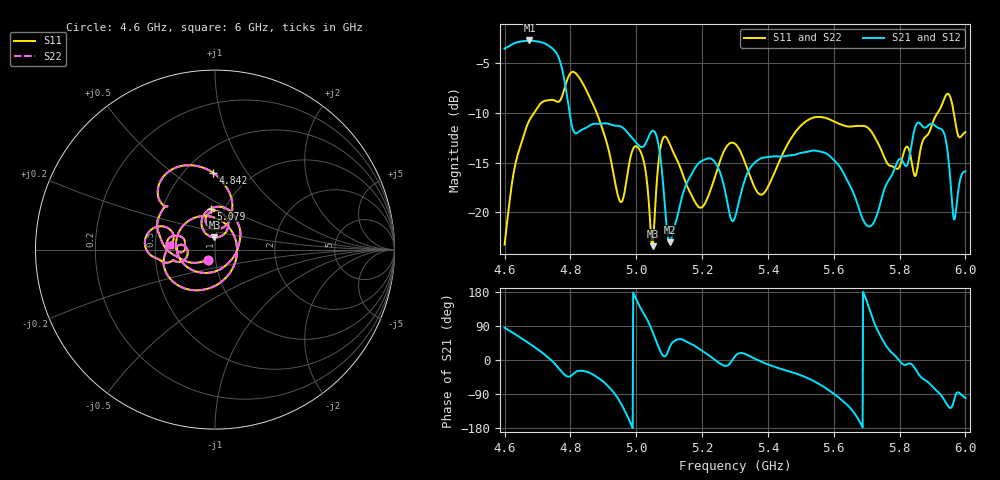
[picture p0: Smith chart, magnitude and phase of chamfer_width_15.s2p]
! TOUCHSTONE file generated by CST MICROWAVE STUDIO
! Date and time: Sat Nov 30 03:28:50 2024
! Project name: test_tuning.cst
! Parameters = {airCoaxOuterDiameter=3; chamferAngle=45; chamferWidth=30; connectorLength=10; drillingHoleDiameter=4.1; feedLength=60; flareDiameter=130; flareLength=70; gratingDistance=0; gratingGap=1.90274; outletLength=30; polarizerLength=134; probe1Diameter=1.3; probe1Distance=14; probe1Length=1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
! Header version: 2024
! Port assignment regex: !\s*Touchstone port\s*([0-9]+)\s*=\s*(CST MWS port|CST DES external port|CST DES block port)\s*(.+)\s* \(\"(.*)\"\)(\s*mode\s*([0-9]+))?.*
! Touchstone port assignment:
! Touchstone port 1 = CST MWS port 1 ("Input1")
! Touchstone port 2 = CST MWS port 2 ("Input2")
# GHz S MA R 50
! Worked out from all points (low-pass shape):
!   1001 points, 4.6 GHz to 6 GHz, reference 50 ohm
!   highest |S21| = -2.76 dB at 4.676 GHz (marker M1); lowest = -23.0 dB at 5.101 GHz (marker M2)
!   |S21| within 3 dB of the highest: start of sweep to 4.776 GHz
!   lowest |S11| = -23.4 dB at 5.049 GHz (marker M3), VSWR 1.15, Z = 49.2 + j6.69 ohm
!   |S11| at or under -10 dB: start of sweep to 4.69 GHz; 4.88 GHz to 5.916 GHz (1.036 GHz wide, 19.2 % of centre); 5.965 GHz to end of sweep
!   |S22| runs from -23.4 to -5.9 dB; largest |S21 - S12| = 2e-06
!   S11 on the Smith chart (normalised r, x): 4.6 GHz: 0.92, -0.11; 4.842 GHz: 0.68, +0.71; 5.079 GHz: 0.86, +0.41; 6 GHz: 0.60, +0.03
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4.6  0.06896 -121.7  0.6615 85.2  0.6615 85.2  0.06896 -121.7
4.6756  0.2904 174.2  0.7279 43.3  0.7279 43.3  0.2904 174.2
4.7722  0.3731 139.1  0.5439 -29.8  0.5439 -29.8  0.3731 139.1
4.8338  0.4544 96.7  0.2591 -28.4  0.2591 -28.4  0.4544 96.7
4.8422  0.429 91.6  0.2628 -29.5  0.2628 -29.5  0.429 91.6
4.95  0.1142 82.9  0.2707 -109.2  0.2707 -109.2  0.1142 82.9
4.9822  0.1883 105.3  0.2417 -165.7  0.2417 -165.7  0.1883 105.3
5.0186  0.1911 71.7  0.2127 128.6  0.2127 128.6  0.1911 71.7
5.0494  0.06777 92.8  0.2566 74.9  0.2566 74.9  0.06777 92.8
5.0676  0.1784 114.6  0.2185 34.4  0.2185 34.4  0.1784 114.6
5.0788  0.2298 96.2  0.1563 14.8  0.1563 14.8  0.2298 96.2
5.1012  0.221 62.8  0.07084 33.0  0.07084 33.0  0.221 62.8
5.2118  0.1135 -75.1  0.1853 17.7  0.1853 17.7  0.1135 -75.1
5.3  0.221 139.5  0.09459 10.1  0.09459 10.1  0.221 139.5
5.3868  0.1245 -11.6  0.1884 -7.2  0.1884 -7.2  0.1245 -11.6
5.5338  0.2972 -145.4  0.2039 -53.0  0.2039 -53.0  0.2972 -145.4
5.7046  0.2652 166.6  0.0852 145.0  0.0852 145.0  0.2652 166.6
5.7676  0.1726 166.0  0.1456 27.3  0.1456 27.3  0.1726 166.0
5.8572  0.1793 -161.8  0.2822 -36.4  0.2822 -36.4  0.1793 -161.8
5.9342  0.366 -176.1  0.2517 -103.3  0.2517 -103.3  0.366 -176.1
5.9664  0.3038 155.5  0.09208 -102.9  0.09207 -102.9  0.3038 155.5
6  0.253 174.3  0.1608 -100.3  0.1608 -100.3  0.253 174.2
